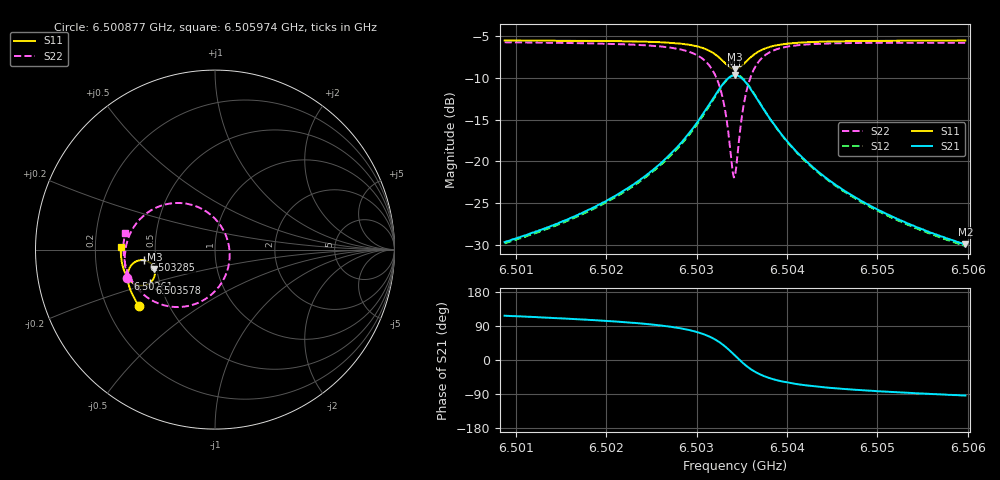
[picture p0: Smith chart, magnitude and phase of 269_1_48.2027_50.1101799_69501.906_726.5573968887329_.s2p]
#  HZ  S  RI  R  50.00
! Rohde & Schwarz Vector Network Analyzer
! Rohde-Schwarz,ZNB20-2Port,1311601062101988,3.16
! Created: UTC 3/20/2024, 11:48:05 AM
! freq[Hz]  re:S11  im:S11  re:S21  im:S21  re:S12  im:S12  re:S22  im:S22
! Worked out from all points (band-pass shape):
!   401 points, 6.500877 GHz to 6.505974 GHz, reference 50 ohm
!   highest |S21| = -9.72 dB at 6.503426 GHz (marker M1); lowest = -29.9 dB at 6.505974 GHz (marker M2)
!   |S21| within 3 dB of the highest: 6.50317 GHz to 6.50368 GHz (510.5 kHz wide, 0.00785 % of centre)
!   lowest |S11| = -9.0 dB at 6.503426 GHz (marker M3), VSWR 2.10, Z = 24.2 - j6.03 ohm
!   |S11| at or under -10 dB: nowhere
!   |S22| runs from -21.9 to -5.8 dB; largest |S21 - S12| = 0.011
!   S11 on the Smith chart (normalised r, x): 6.500877 GHz: 0.34, -0.30; 6.50261 GHz: 0.33, -0.15; 6.503285 GHz: 0.43, -0.06; 6.503578 GHz: 0.44, -0.20; 6.505974 GHz: 0.31, +0.01
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6.5008771e9  -0.4228 -0.314  -0.0149 0.0295  -0.0133 0.0296  -0.4878 -0.1607
6.5017308e9  -0.46 -0.2513  -0.0145 0.0469  -0.012 0.0467  -0.5022 -0.0711
6.5022023e9  -0.4769 -0.21  -0.0115 0.0664  -0.00851 0.0653  -0.4997 -0.00505
6.5025846e9  -0.4862 -0.1682  -0.00267 0.0954  0.000862 0.0932  -0.481 0.07
6.5026101e9  -0.4866 -0.1649  -0.00143 0.0982  0.00209 0.0958  -0.4785 0.0762
6.5028522e9  -0.4852 -0.1293  0.0179 0.1322  0.0217 0.1283  -0.4374 0.1472
6.5030306e9  -0.4722 -0.0955  0.0552 0.1692  0.0581 0.1636  -0.3643 0.2138
6.5031835e9  -0.4388 -0.0652  0.1291 0.1993  0.1303 0.1929  -0.2287 0.2591
6.5032854e9  -0.3961 -0.0587  0.2148 0.19  0.2149 0.1847  -0.0801 0.2302
6.5033364e9  -0.3705 -0.0675  0.2629 0.1617  0.2638 0.157  -2.64e-05 0.1722
6.5034001e9  -0.3442 -0.094  0.3102 0.0979  0.3126 0.093  0.071 0.0494
6.5034256e9  -0.338 -0.1086  0.3199 0.0659  0.3231 0.06  0.0813 -0.0102
6.5034511e9  -0.3349 -0.124  0.3234 0.0324  0.3268 0.0254  0.0791 -0.0712
6.5035148e9  -0.3422 -0.1609  0.305 -0.0448  0.3071 -0.0546  0.0231 -0.2049
6.5035785e9  -0.3633 -0.1865  0.2625 -0.0983  0.2613 -0.1093  -0.0729 -0.2864
6.5036804e9  -0.4026 -0.2015  0.1883 -0.1339  0.183 -0.1433  -0.2217 -0.3197
6.5038461e9  -0.4483 -0.1917  0.1076 -0.1308  0.1006 -0.1358  -0.3673 -0.2732
6.5040245e9  -0.4755 -0.1703  0.0634 -0.111  0.0572 -0.1131  -0.4387 -0.2089
6.5042793e9  -0.4962 -0.1404  0.0338 -0.087  0.0289 -0.0874  -0.4818 -0.1371
6.5046616e9  -0.5117 -0.1009  0.0148 -0.0639  0.0115 -0.0635  -0.504 -0.0624
6.5051331e9  -0.5212 -0.0575  0.00496 -0.0475  0.00275 -0.0469  -0.5101 0.00329
6.5059741e9  -0.5259 0.0136  -0.00208 -0.0319  -0.00341 -0.031  -0.502 0.0916
